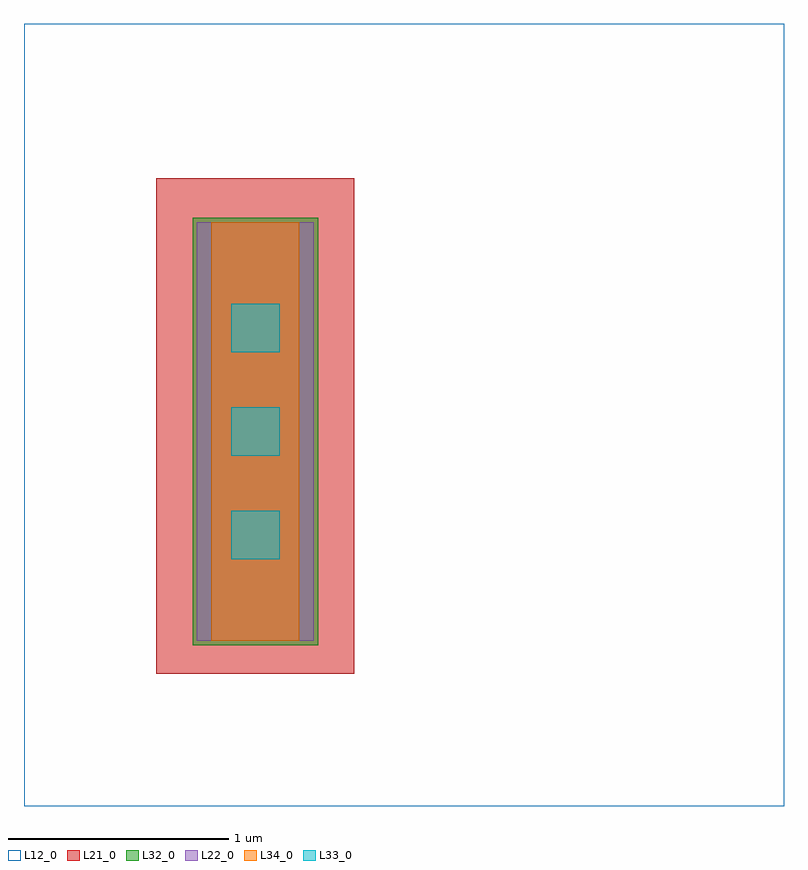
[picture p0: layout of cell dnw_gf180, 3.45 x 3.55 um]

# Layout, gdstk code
import gdstk
lib = gdstk.Library(unit=1e-6, precision=1e-09)
def R(c, l, rs):  # rectangles x0, y0, x1, y1
    for r in rs: c.add(gdstk.rectangle(r[:2], r[2:], *l))
def A(c, l, x, y, w, h, nx, ny, dx, dy):  # array of equal rectangles
    R(c, l, [(x+i*dx, y+j*dy, x+i*dx+w, y+j*dy+h) for i in range(nx) for j in range(ny)])
L12_0 = (12, 0)
L21_0 = (21, 0)
L22_0 = (22, 0)
L32_0 = (32, 0)
L33_0 = (33, 0)
L34_0 = (34, 0)

dnw_gf180 = lib.new_cell('dnw_gf180')
R(dnw_gf180, L12_0, [(-0.6,-0.6,2.85,2.95)])
R(dnw_gf180, L21_0, [(0,0,0.9,2.25)])
R(dnw_gf180, L22_0, [(0.185,0.15,0.715,2.05)])
R(dnw_gf180, L32_0, [(0.165,0.13,0.735,2.07)])
A(dnw_gf180, L33_0, 0.34, 0.52, 0.22, 0.22, 1, 3, 0, 0.47)
R(dnw_gf180, L34_0, [(0.25,0.15,0.65,2.05)])

lib.write_gds('dnw_gf180.gds')
